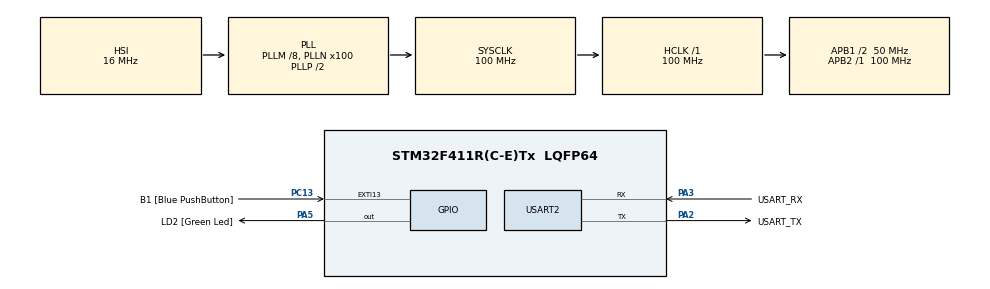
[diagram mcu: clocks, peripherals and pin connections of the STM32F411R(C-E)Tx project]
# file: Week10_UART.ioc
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Mcu.Family=STM32F4
PC15-OSC32_OUT.Mode=LSE-External-Oscillator
RCC.CortexFreq_Value=100000000
PC13-ANTI_TAMP.GPIO_Label=B1 [Blue PushButton]
PA14.GPIO_Label=TCK
PH1\ -\ OSC_OUT.Mode=HSE-External-Clock-Source
RCC.APB1CLKDivider=RCC_HCLK_DIV2
PC14-OSC32_IN.Signal=RCC_OSC32_IN
NVIC.USART2_IRQn=true\:0\:0\:false\:false\:true\:true\:true
RCC.SYSCLKSource=RCC_SYSCLKSOURCE_PLLCLK
ProjectManager.StackSize=0x400
PA13.Signal=SYS_JTMS-SWDIO
PA3.Mode=Asynchronous
PH0\ -\ OSC_IN.Mode=HSE-External-Clock-Source
PH0\ -\ OSC_IN.Signal=RCC_OSC_IN
ProjectManager.TargetToolchain=STM32CubeIDE
RCC.HCLKFreq_Value=100000000
RCC.APB2TimFreq_Value=100000000
PC15-OSC32_OUT.Signal=RCC_OSC32_OUT
RCC.AHBFreq_Value=100000000
PA5.Signal=GPIO_Output
RCC.HSE_VALUE=8000000
PH1\ -\ OSC_OUT.Signal=RCC_OSC_OUT
board=NUCLEO-F411RE
PC13-ANTI_TAMP.Signal=GPXTI13
RCC.VCOOutputFreq_Value=200000000
RCC.APB2Freq_Value=100000000
PC14-OSC32_IN.Mode=LSE-External-Oscillator
PA14.Mode=Serial_Wire
PA13.Mode=Serial_Wire
Mcu.Name=STM32F411R(C-E)Tx
PA2.Signal=USART2_TX
PA13.GPIO_Label=TMS
RCC.FLatency-AdvancedSettings=FLASH_LATENCY_3
RCC.48MHZClocksFreq_Value=50000000
PB3.Signal=SYS_JTDO-SWO
RCC.SYSCLKFreq_VALUE=100000000
Mcu.Package=LQFP64
PA5.GPIO_Label=LD2 [Green Led]
USART2.VirtualMode=VM_ASYNC
PC13-ANTI_TAMP.GPIO_ModeDefaultEXTI=GPIO_MODE_IT_FALLING
PA2.GPIO_Label=USART_TX
PA14.Signal=SYS_JTCK-SWCLK
ProjectManager.HeapSize=0x200
RCC.HSI_VALUE=16000000
NVIC.PriorityGroup=NVIC_PRIORITYGROUP_0
RCC.PLLM=8
RCC.PLLN=100
RCC.APB1TimFreq_Value=100000000
PA2.Mode=Asynchronous
RCC.APB1Freq_Value=50000000
PA3.GPIO_Label=USART_RX
PA3.Signal=USART2_RX
PB3.GPIO_Label=SWO

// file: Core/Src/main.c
/* USER CODE BEGIN Header */
/**
  ******************************************************************************
  * @file           : main.c
  * @brief          : Main program body
  ******************************************************************************
  * @attention
  *
  * <h2><center>&copy; Copyright (c) 2021 STMicroelectronics.
  * All rights reserved.</center></h2>
  *
  * This software component is licensed by ST under BSD 3-Clause license,
  * the "License"; You may not use this file except in compliance with the
  * License. You may obtain a copy of the License at:
  *                        opensource.org/licenses/BSD-3-Clause
  *
  ******************************************************************************
  */
/* USER CODE END Header */
#include "main.h"

/* USER CODE BEGIN Includes */
#include <stdio.h> //printf
#include <string.h> //str lenght
/* USER CODE END Includes */

UART_HandleTypeDef huart2;

/* USER CODE BEGIN PV */
char TxDataBuffer[32] = {0};

char RxDataBuffer[32] = {0};

int16_t inputchar2=0;

uint8_t state = 0;

uint8_t Led = 0;

uint32_t T=0;
uint32_t freq = 1;
uint32_t Timestamp = 0;

/* USER CODE END PV */

void SystemClock_Config(void);
static void MX_GPIO_Init(void);
static void MX_USART2_UART_Init(void);
/* USER CODE BEGIN PFP */
void UARTRecirvrAndResponsePolling();
int16_t UARTRecieveIT();
/* USER CODE END PFP */

int main(void)
{

  /* MCU Configuration--------------------------------------------------------*/

  /* Reset of all peripherals, Initializes the Flash interface and the Systick. */
  HAL_Init();

  /* Configure the system clock */
  SystemClock_Config();

  /* Initialize all configured peripherals */
  MX_GPIO_Init();
  MX_USART2_UART_Init();
  /* USER CODE BEGIN 2 */
  {
	  char temp[] = "HELLO WORLD\r\n please type something to test UART\r\n";
//	  HAL_UART_Transmit(&huart2, (uint8_t*) temp, strlen(temp), 10);
	  HAL_UART_Transmit_IT(&huart2,(uint8_t*) temp, strlen(temp));
  }

  /* USER CODE END 2 */

  /* Infinite loop */
  while (1)
  {

    /* USER CODE BEGIN 3 */
    //test1
	//UARTRecirvrAndResponsePolling();

	//test2
//	HAL_UART_Receive_IT(&huart2, (uint8_t*)RxDataBuffer, 5);
//	int16_t inputchar = UARTRecieveIT();
//	if(inputchar!=-1)
//	{
//		sprintf(TxDataBuffer, "ReceivedChar:[%c]\r\n", inputchar);
//		HAL_UART_Transmit(&huart2, (uint8_t*)TxDataBuffer, strlen(TxDataBuffer), 1000);
//	}
//
//	if(inputchar == 97)
//	{
//		 char sua[] = "Yayyyy\r\n";
//		 HAL_UART_Transmit_IT(&huart2,(uint8_t*) sua, strlen(sua));
//	}

////////////////////////////////////////////////////////
	//use
//	    HAL_UART_Receive_IT(&huart2, (uint8_t*)RxDataBuffer, 32);
//
//		int16_t inputchar = UARTRecieveIT();
//		if(inputchar!=-1)
//		{
//			if(inputchar == 48)
//			{
//				 char sua[] = "Yayyyy\r\n";
//				 HAL_UART_Transmit_IT(&huart2,(uint8_t*) sua, strlen(sua));
//			}
//
//			else if(inputchar == 49)
//			{
//				 char sua[] = "kkkkkk\r\n";
//				 HAL_UART_Transmit_IT(&huart2,(uint8_t*) sua, strlen(sua));
//			}
//			else
//			{
//				char sua[] = "Please try again\r\n";
//				HAL_UART_Transmit(&huart2,(uint8_t*) sua, strlen(sua),1000);
//			}
//		}
	 //use2
	HAL_UART_Receive_IT(&huart2, (uint8_t*)RxDataBuffer, 32);

	int16_t inputchar = UARTRecieveIT();
	if(inputchar!=-1)
	{
		sprintf(TxDataBuffer, "ReceivedChar:[%c]\r\n", inputchar);
		HAL_UART_Transmit(&huart2, (uint8_t*)TxDataBuffer, strlen(TxDataBuffer),50);
		if(state == 0)
		{
			if(inputchar == 48)
			{
				 char sua[] = "Mode1\r\n";
				 HAL_UART_Transmit_IT(&huart2,(uint8_t*) sua, strlen(sua));
				 state = 1;
			}

			else if(inputchar == 49)
			{
				 char sua[] = "Mode2\r\n";
				 HAL_UART_Transmit_IT(&huart2,(uint8_t*) sua, strlen(sua));
				 state = 2;
			}
			else if(inputchar != 48 && inputchar != 49)
			{
				char sua[] = "Please try again\r\n";
				HAL_UART_Transmit(&huart2,(uint8_t*) sua, strlen(sua),1000);
//				sprintf(TxDataBuffer, "ReceivedChar:[%c]\r\n", inputchar);
//				HAL_UART_Transmit_IT(&huart2, (uint8_t*)TxDataBuffer, strlen(TxDataBuffer));
				//state = 0;
			}
		}
		else if(state == 1)
		{
			if(inputchar == 120) //press 'x'
			{
				 char sua[] = "Mode0\r\n";
				 HAL_UART_Transmit_IT(&huart2,(uint8_t*) sua, strlen(sua));
				 state = 0;
			}
			else if(inputchar == 100) //press 'd'
			{
				Led = !Led;
				if(Led == 0)
				{
					char sua[] = "LED_Off\r\n";
				    HAL_UART_Transmit(&huart2,(uint8_t*) sua, strlen(sua),1000);
				}
				else
				{
					char sua[] = "LED_ON\r\n";
				    HAL_UART_Transmit(&huart2,(uint8_t*) sua, strlen(sua),1000);
				}
			}
			else if(inputchar == 97) //press 'a'
			{
				freq++;
				sprintf(TxDataBuffer, "Speed [%d] Hz\r\n", freq);
				HAL_UART_Transmit_IT(&huart2, (uint8_t*)TxDataBuffer, strlen(TxDataBuffer));
			}
			else if(inputchar == 115) //press 's'
			{
				freq--;
				if(freq < 1){freq = 1;}
				sprintf(TxDataBuffer, "Speed [%d] Hz\r\n", freq);
				HAL_UART_Transmit_IT(&huart2, (uint8_t*)TxDataBuffer, strlen(TxDataBuffer));
			}
			else
			{
				char sua[] = "Please try again\r\n";
				HAL_UART_Transmit(&huart2,(uint8_t*) sua, strlen(sua),1000);
			}

		}
		else if(state == 2)
		{
//			char sua[] = "Mode20\r\n";
//			HAL_UART_Transmit_IT(&huart2,(uint8_t*) sua, strlen(sua));
			if(inputchar == 120) //press'x'
			{
				 char sua[] = "Mode0\r\n";
				 HAL_UART_Transmit_IT(&huart2,(uint8_t*) sua, strlen(sua));
				 state = 0;
			}
			else
			{
				char sua[] = "Please try again\r\n";
				HAL_UART_Transmit(&huart2,(uint8_t*) sua, strlen(sua),1000);
			}
		}
	}

	else if(inputchar == -1)
	{
		if(state == 2)
		{
			if(HAL_GPIO_ReadPin(GPIOC, GPIO_PIN_13) == 0)
			{
				char sua[] = "Press\r\n";
				HAL_UART_Transmit(&huart2,(uint8_t*) sua, strlen(sua),1000);
			}
			else if(HAL_GPIO_ReadPin(GPIOC, GPIO_PIN_13) == 1)
			{
				char sua[] = "unpress\r\n";
				HAL_UART_Transmit_IT(&huart2,(uint8_t*) sua, strlen(sua));
			}
		}
	}

	if(Led == 1)
	{

		if((HAL_GetTick() - Timestamp) >= 500/freq)
		{
			Timestamp = HAL_GetTick();
			HAL_GPIO_TogglePin(LD2_GPIO_Port, LD2_Pin);
		}
	}
	else
	{
		HAL_GPIO_WritePin(LD2_GPIO_Port, LD2_Pin, GPIO_PIN_RESET);
	}

  }
  /* USER CODE END 3 */
}

void SystemClock_Config(void)
{
  RCC_OscInitTypeDef RCC_OscInitStruct = {0};
  RCC_ClkInitTypeDef RCC_ClkInitStruct = {0};

  /** Configure the main internal regulator output voltage
  */
  __HAL_RCC_PWR_CLK_ENABLE();
  __HAL_PWR_VOLTAGESCALING_CONFIG(PWR_REGULATOR_VOLTAGE_SCALE1);
  /** Initializes the RCC Oscillators according to the specified parameters
  * in the RCC_OscInitTypeDef structure.
  */
  RCC_OscInitStruct.OscillatorType = RCC_OSCILLATORTYPE_HSI;
  RCC_OscInitStruct.HSIState = RCC_HSI_ON;
  RCC_OscInitStruct.HSICalibrationValue = RCC_HSICALIBRATION_DEFAULT;
  RCC_OscInitStruct.PLL.PLLState = RCC_PLL_ON;
  RCC_OscInitStruct.PLL.PLLSource = RCC_PLLSOURCE_HSI;
  RCC_OscInitStruct.PLL.PLLM = 8;
  RCC_OscInitStruct.PLL.PLLN = 100;
  RCC_OscInitStruct.PLL.PLLP = RCC_PLLP_DIV2;
  RCC_OscInitStruct.PLL.PLLQ = 4;
  if (HAL_RCC_OscConfig(&RCC_OscInitStruct) != HAL_OK)
  {
    Error_Handler();
  }
  /** Initializes the CPU, AHB and APB buses clocks
  */
  RCC_ClkInitStruct.ClockType = RCC_CLOCKTYPE_HCLK|RCC_CLOCKTYPE_SYSCLK
                              |RCC_CLOCKTYPE_PCLK1|RCC_CLOCKTYPE_PCLK2;
  RCC_ClkInitStruct.SYSCLKSource = RCC_SYSCLKSOURCE_PLLCLK;
  RCC_ClkInitStruct.AHBCLKDivider = RCC_SYSCLK_DIV1;
  RCC_ClkInitStruct.APB1CLKDivider = RCC_HCLK_DIV2;
  RCC_ClkInitStruct.APB2CLKDivider = RCC_HCLK_DIV1;

  if (HAL_RCC_ClockConfig(&RCC_ClkInitStruct, FLASH_LATENCY_3) != HAL_OK)
  {
    Error_Handler();
  }
}

static void MX_USART2_UART_Init(void)
{

  huart2.Instance = USART2;
  huart2.Init.BaudRate = 115200;
  huart2.Init.WordLength = UART_WORDLENGTH_8B;
  huart2.Init.StopBits = UART_STOPBITS_1;
  huart2.Init.Parity = UART_PARITY_NONE;
  huart2.Init.Mode = UART_MODE_TX_RX;
  huart2.Init.HwFlowCtl = UART_HWCONTROL_NONE;
  huart2.Init.OverSampling = UART_OVERSAMPLING_16;
  if (HAL_UART_Init(&huart2) != HAL_OK)
  {
    Error_Handler();
  }

}

static void MX_GPIO_Init(void)
{
  GPIO_InitTypeDef GPIO_InitStruct = {0};

  /* GPIO Ports Clock Enable */
  __HAL_RCC_GPIOC_CLK_ENABLE();
  __HAL_RCC_GPIOH_CLK_ENABLE();
  __HAL_RCC_GPIOA_CLK_ENABLE();
  __HAL_RCC_GPIOB_CLK_ENABLE();

  /*Configure GPIO pin Output Level */
  HAL_GPIO_WritePin(LD2_GPIO_Port, LD2_Pin, GPIO_PIN_RESET);

  /*Configure GPIO pin : B1_Pin */
  GPIO_InitStruct.Pin = B1_Pin;
  GPIO_InitStruct.Mode = GPIO_MODE_IT_FALLING;
  GPIO_InitStruct.Pull = GPIO_NOPULL;
  HAL_GPIO_Init(B1_GPIO_Port, &GPIO_InitStruct);

  /*Configure GPIO pin : LD2_Pin */
  GPIO_InitStruct.Pin = LD2_Pin;
  GPIO_InitStruct.Mode = GPIO_MODE_OUTPUT_PP;
  GPIO_InitStruct.Pull = GPIO_NOPULL;
  GPIO_InitStruct.Speed = GPIO_SPEED_FREQ_LOW;
  HAL_GPIO_Init(LD2_GPIO_Port, &GPIO_InitStruct);

}

/* USER CODE BEGIN 4 */
void UARTRecirvrAndResponsePolling()
{
	char Recieve[32] = {0};

	HAL_UART_Receive(&huart2, (uint8_t*)Recieve , 3, 1000);

	sprintf(TxDataBuffer, "Recieve = [ %s ]\r\n", Recieve);

	HAL_UART_Transmit(&huart2, (uint8_t*)TxDataBuffer, strlen(TxDataBuffer), 1000);
}

//void HAL_UART_RxCpltCallback(UART_HandleTypeDef *huart)
//{
//	sprintf(TxDataBuffer, "Received :[%s]\r\n" , RxDataBuffer);
//	HAL_UART_Transmit_IT(&huart2, (uint8_t*)TxDataBuffer, strlen(TxDataBuffer));
//}

int16_t UARTRecieveIT()
{
	static uint32_t dataPos =0;
	int16_t data=-1;
	if(huart2.RxXferSize - huart2.RxXferCount!=dataPos)
	{
		data=RxDataBuffer[dataPos];
		dataPos= (dataPos+1)%huart2.RxXferSize;
	}
	return data;
}
/* USER CODE END 4 */

void Error_Handler(void)
{
  __disable_irq();
  while (1)
  {
  }
}

/************************ (C) COPYRIGHT STMicroelectronics *****END OF FILE****/
